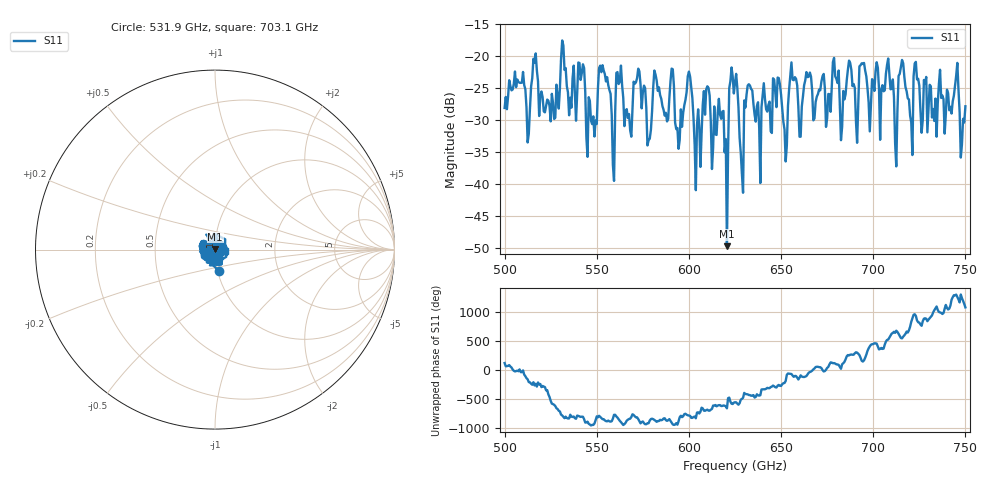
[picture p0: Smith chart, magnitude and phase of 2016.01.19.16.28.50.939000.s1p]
!Created with skrf (http://scikit-rf.org).
# GHz S RI R 50.0
!freq ReS11 ImS11
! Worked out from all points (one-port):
!   401 points, 500 GHz to 750 GHz, reference 50 ohm
!   lowest |S11| = -49.8 dB at 620.6 GHz (marker M1), VSWR 1.01, Z = 50.1 + j0.294 ohm
!   |S11| at or under -10 dB: start of sweep to end of sweep
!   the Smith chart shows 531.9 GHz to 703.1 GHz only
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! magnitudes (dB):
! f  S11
! 500 GHz  -28.1
! 513.1 GHz  -32.1
! 516.2 GHz  -21.0
! 526.2 GHz  -27.3
! 531.2 GHz  -17.6
! 548.8 GHz  -32.6
! 553.1 GHz  -21.4
! 558.8 GHz  -37.1
! 562.5 GHz  -24.0
! 578.8 GHz  -32.9
! 581.9 GHz  -22.9
! 590.6 GHz  -22.0
! 593.8 GHz  -31.3
! 600 GHz  -22.4
! 605 GHz  -28.3
! 609.4 GHz  -25.2
! 620.6 GHz  -49.8
! 625 GHz  -24.2
! 628.1 GHz  -35.2
! 632.5 GHz  -24.4
! 637.5 GHz  -27.2
! 649.4 GHz  -24.4
! 651.9 GHz  -31.5
! 656.2 GHz  -23.7
! 660.6 GHz  -32.6
! 687.5 GHz  -21.1
! 718.8 GHz  -26.7
! 750 GHz  -27.9
